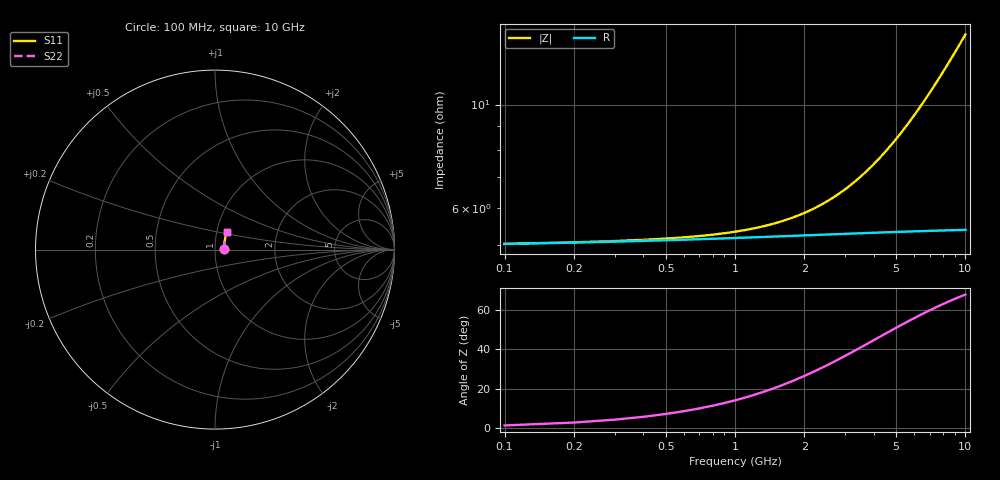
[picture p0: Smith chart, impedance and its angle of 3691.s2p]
# Hz S RI R 50.00
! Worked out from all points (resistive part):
!   100 points, 100 MHz to 10 GHz, reference 50 ohm
!   read as one part in series: R = 5.03 ohm at 100 MHz
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1e8  0.0479 0.001  0.9521 -0.00136  0.9521 -0.00136  0.0479 0.001
2e8  0.0482 0.00201  0.9518 -0.00273  0.9518 -0.00273  0.0482 0.00201
8e8  0.0492 0.00801  0.9508 -0.0109  0.9508 -0.0109  0.0492 0.00801
1.1e9  0.0495 0.011  0.9505 -0.015  0.9505 -0.015  0.0495 0.011
1.4e9  0.0498 0.014  0.9502 -0.019  0.9502 -0.019  0.0498 0.014
1.6e9  0.05 0.016  0.95 -0.0217  0.95 -0.0217  0.05 0.016
1.8e9  0.0502 0.018  0.9498 -0.0245  0.9498 -0.0245  0.0502 0.018
2.1e9  0.0505 0.021  0.9494 -0.0285  0.9494 -0.0285  0.0505 0.021
2.5e9  0.0509 0.025  0.949 -0.0339  0.949 -0.0339  0.0509 0.025
2.9e9  0.0514 0.0289  0.9485 -0.0393  0.9485 -0.0393  0.0514 0.0289
3.4e9  0.052 0.0339  0.9479 -0.0461  0.9479 -0.0461  0.052 0.0339
3.9e9  0.0526 0.0388  0.9473 -0.0528  0.9473 -0.0528  0.0526 0.0388
5.1e9  0.0544 0.0507  0.9454 -0.069  0.9454 -0.069  0.0544 0.0507
5.9e9  0.0558 0.0585  0.944 -0.0797  0.944 -0.0797  0.0558 0.0585
6.7e9  0.0573 0.0663  0.9423 -0.0904  0.9423 -0.0904  0.0573 0.0663
7.2e9  0.0584 0.0711  0.9413 -0.097  0.9413 -0.097  0.0584 0.0711
7.6e9  0.0593 0.075  0.9403 -0.1023  0.9403 -0.1023  0.0593 0.075
8e9  0.0602 0.0789  0.9394 -0.1076  0.9394 -0.1076  0.0602 0.0789
8.4e9  0.0612 0.0827  0.9384 -0.1129  0.9384 -0.1129  0.0612 0.0827
8.8e9  0.0622 0.0865  0.9373 -0.1182  0.9373 -0.1182  0.0622 0.0865
9.2e9  0.0632 0.0904  0.9362 -0.1235  0.9362 -0.1235  0.0632 0.0904
1e10  0.0654 0.0979  0.9339 -0.1339  0.9339 -0.1339  0.0654 0.0979
